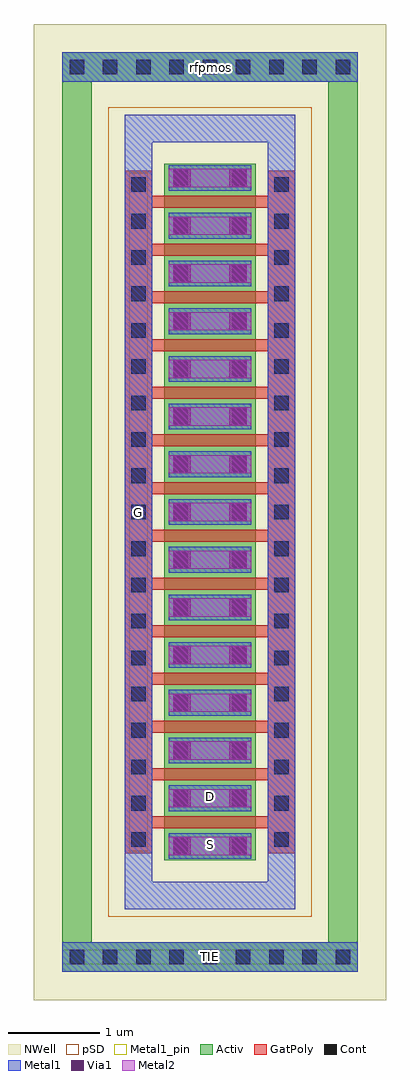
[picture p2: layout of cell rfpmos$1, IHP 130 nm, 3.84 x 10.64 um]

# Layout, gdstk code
import gdstk
lib = gdstk.Library(unit=1e-6, precision=5e-09)
def R(c, l, rs):  # rectangles x0, y0, x1, y1
    for r in rs: c.add(gdstk.rectangle(r[:2], r[2:], *l))
def A(c, l, x, y, w, h, nx, ny, dx, dy):  # array of equal rectangles
    R(c, l, [(x+i*dx, y+j*dy, x+i*dx+w, y+j*dy+h) for i in range(nx) for j in range(ny)])
def P(c, l, *ps):  # polygons
    for p in ps: c.add(gdstk.Polygon(p, *l))
Activ = (1, 0)
GatPoly = (5, 0)
Cont = (6, 0)
Metal1 = (8, 0)
Metal1_pin = (8, 2)
Metal2 = (10, 0)
pSD = (14, 0)
Via1 = (19, 0)
NWell = (31, 0)

rfpmos_1 = lib.new_cell('rfpmos$1')
R(rfpmos_1, Activ, [(1.42,1.525,2.42,9.115)])
P(rfpmos_1, Activ, [(0.31,0.31),(0.31,10.01),(0.63,10.01),(0.63,0.63),(3.21,0.63),(3.21,10.01),(0.31,10.01),(0.31,10.33),(3.53,10.33),(3.53,0.31)])
A(rfpmos_1, GatPoly, 1.29, 1.875, 1.26, 0.13, 1, 14, 0, 0.52)
R(rfpmos_1, GatPoly, [(0.99,1.6,1.29,9.04), (2.55,1.6,2.85,9.04)])
A(rfpmos_1, Cont, 1.52, 1.6, 0.16, 0.16, 1, 15, 0, 0.52)
A(rfpmos_1, Cont, 2.16, 1.6, 0.16, 0.16, 1, 15, 0, 0.52)
A(rfpmos_1, Cont, 1.06, 1.67, 0.16, 0.16, 1, 3, 0, 0.395)
A(rfpmos_1, Cont, 2.62, 1.67, 0.16, 0.16, 1, 3, 0, 0.395)
A(rfpmos_1, Cont, 1.06, 2.86, 0.16, 0.16, 1, 3, 0, 0.395)
A(rfpmos_1, Cont, 2.62, 2.86, 0.16, 0.16, 1, 3, 0, 0.395)
A(rfpmos_1, Cont, 1.06, 4.05, 0.16, 0.16, 1, 3, 0, 0.395)
A(rfpmos_1, Cont, 2.62, 4.05, 0.16, 0.16, 1, 3, 0, 0.395)
A(rfpmos_1, Cont, 1.06, 5.24, 0.16, 0.16, 1, 3, 0, 0.395)
A(rfpmos_1, Cont, 2.62, 5.24, 0.16, 0.16, 1, 3, 0, 0.395)
A(rfpmos_1, Cont, 1.06, 6.43, 0.16, 0.16, 1, 3, 0, 0.395)
A(rfpmos_1, Cont, 2.62, 6.43, 0.16, 0.16, 1, 3, 0, 0.395)
A(rfpmos_1, Cont, 1.06, 7.62, 0.16, 0.16, 1, 3, 0, 0.395)
A(rfpmos_1, Cont, 2.62, 7.62, 0.16, 0.16, 1, 3, 0, 0.395)
R(rfpmos_1, Cont, [(0.39,0.39,0.55,0.55), (0.75,0.39,0.91,0.55), (1.115,0.39,1.275,0.55), (1.475,0.39,1.635,0.55), (1.84,0.39,2,0.55), (2.2,0.39,2.36,0.55), (2.565,0.39,2.725,0.55), (2.925,0.39,3.085,0.55), (3.29,0.39,3.45,0.55), (1.06,8.81,1.22,8.97), (2.62,8.81,2.78,8.97), (0.39,10.09,0.55,10.25), (0.75,10.09,0.91,10.25), (1.115,10.09,1.275,10.25), (1.475,10.09,1.635,10.25), (1.84,10.09,2,10.25), (2.2,10.09,2.36,10.25), (2.565,10.09,2.725,10.25), (2.925,10.09,3.085,10.25), (3.29,10.09,3.45,10.25)])
A(rfpmos_1, Metal1, 1.47, 1.54, 0.9, 0.28, 1, 15, 0, 0.52)
R(rfpmos_1, Metal1, [(0.31,0.31,3.53,0.63), (1.04,1.62,1.24,9.02), (2.6,1.62,2.8,9.02), (0.31,10.01,3.53,10.33)])
P(rfpmos_1, Metal1, [(0.99,0.99),(0.99,9.35),(1.29,9.35),(1.29,1.29),(2.55,1.29),(2.55,9.35),(0.99,9.35),(0.99,9.65),(2.85,9.65),(2.85,0.99)])
R(rfpmos_1, Metal1_pin, [(0.31,0.39,3.53,0.55), (0.31,0.39,3.53,0.55), (1.47,1.54,2.37,1.82), (1.47,1.54,2.37,1.82), (1.04,1.62,1.24,9.02), (1.04,1.62,1.24,9.02), (1.47,2.06,2.37,2.34), (1.47,2.06,2.37,2.34)])
A(rfpmos_1, Metal2, 1.47, 1.58, 0.9, 0.2, 1, 15, 0, 0.52)
R(rfpmos_1, pSD, [(0.81,0.91,3.03,9.73)])
A(rfpmos_1, Via1, 1.52, 1.585, 0.19, 0.19, 1, 15, 0, 0.52)
A(rfpmos_1, Via1, 2.13, 1.585, 0.19, 0.19, 1, 15, 0, 0.52)
R(rfpmos_1, NWell, [(0,0,3.84,10.64)])
rfpmos_1.add(gdstk.Label('S', (1.92,1.7), layer=63, texttype=0))
rfpmos_1.add(gdstk.Label('D', (1.92,2.22), layer=63, texttype=0))
rfpmos_1.add(gdstk.Label('G', (1.14,5.32), layer=63, texttype=0))
rfpmos_1.add(gdstk.Label('TIE', (1.92,0.47), layer=63, texttype=0))
rfpmos_1.add(gdstk.Label('rfpmos', (1.92,10.17), layer=63, texttype=0))

lib.write_gds('rfpmos_1.gds')
